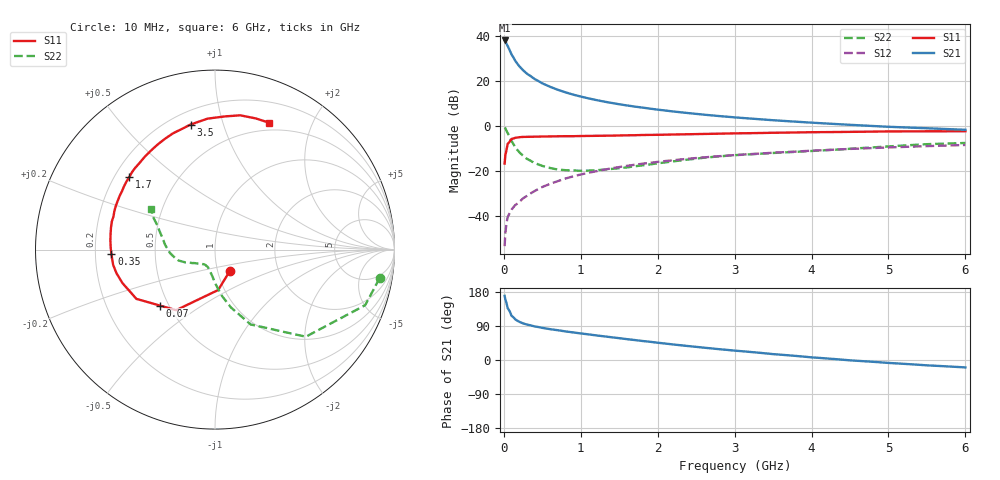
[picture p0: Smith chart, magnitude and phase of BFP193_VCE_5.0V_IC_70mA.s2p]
! Infineon Technologies  Discrete & RF Semiconductors
! BFP193
! VCE =  5.0 V,  IC =  70 mA
! Common Emitter S-Parameters:  Jan 2017
# GHz  S  MA  R  50
!  f  S11  S21  S12  S22
! GHz  MAG  ANG  MAG  ANG  MAG  ANG  MAG  ANG
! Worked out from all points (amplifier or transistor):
!   77 points, 10 MHz to 6 GHz, reference 50 ohm
!   highest |S21| = 38.2 dB at 10 MHz (marker M1)
!   |S21| within 3 dB of that: start of sweep to 57.29 MHz
!   unconditionally stable (mu >= 1): 477.1 MHz to 2.355 GHz
!   at 130 MHz: K = 0.69, MSG = 33.1 dB, |S12| = -36.0 dB
!   at 2.2 GHz: K = 1.01, MAG = 10.3 dB, |S12| = -15.2 dB
!   at 6 GHz: K = 0.92, MSG = 3.4 dB, |S12| = -8.4 dB
!   S11 on the Smith chart (normalised r, x): 10 MHz: 1.14, -0.28; 70 MHz: 0.45, -0.35; 350 MHz: 0.27, -0.02; 1.7 GHz: 0.26, +0.35; 3.5 GHz: 0.28, +0.79; 6 GHz: 0.41, +1.43
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0.01  0.146 -56.1  81.19 169.3  0.0021 84.4  0.9311 -9.8
0.02  0.2259 -85.5  78.54 159.6  0.0042 81.8  0.8923 -20.3
0.05  0.4012 -122.7  60.92 136.6  0.0093 66.7  0.7013 -43.8
0.07  0.4367 -134.3  51.74 130.6  0.011 64.2  0.5974 -50.1
0.1  0.5168 -147.9  39.65 116.6  0.0137 61.7  0.4624 -64.5
0.15  0.5483 -160.1  28.21 106.9  0.0174 63.9  0.3332 -74.7
0.2  0.5647 -166.6  21.73 100.9  0.0201 64.7  0.2624 -81.3
0.25  0.5738 -171.5  17.6 96.6  0.0245 66.1  0.2177 -85.7
0.3  0.5756 -175.0  14.76 93.6  0.0278 67.7  0.1863 -89.9
0.35  0.5775 -177.8  12.97 91.4  0.0317 68.8  0.1678 -92.4
0.4  0.5807 179.5  11.21 88.6  0.0356 69.6  0.1498 -95.6
0.5  0.5851 175.1  8.993 84.8  0.0438 70.8  0.1293 -101.1
0.6  0.5884 171.4  7.534 81.4  0.0514 70.4  0.1164 -106.3
0.8  0.5957 164.8  5.671 75.5  0.0677 70.3  0.1039 -114.2
1.1  0.604 156.1  4.151 67.6  0.0911 67.5  0.1017 -125.2
1.7  0.6258 139.6  2.725 52.7  0.1372 60.6  0.1267 -142.6
2.1  0.6435 129.3  2.222 43.4  0.1661 55.4  0.1553 -151.8
3.1  0.6914 108.2  1.519 23.1  0.231 42.3  0.2295 -169.0
3.5  0.71 101.0  1.351 15.5  0.2545 37.8  0.2513 -175.6
4.1  0.7323 91.8  1.166 5.6  0.2878 30.4  0.2843 172.5
5.1  0.7613 78.1  0.95 -8.9  0.3388 18.8  0.3605 155.6
6  0.7684 67.0  0.827 -19.6  0.379 8.6  0.4203 147.6
